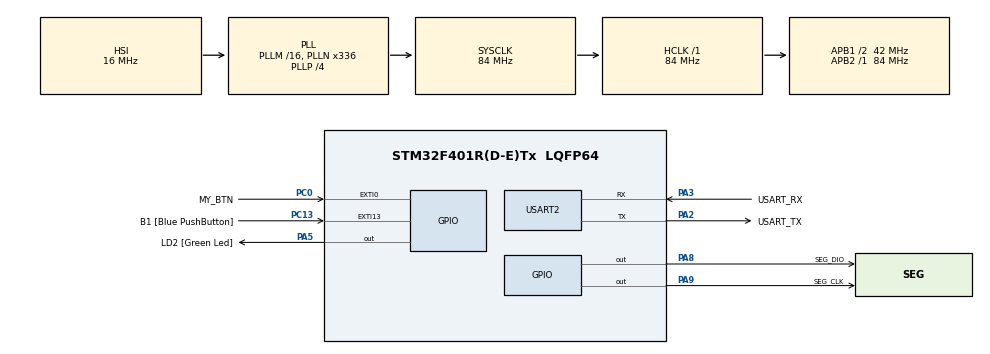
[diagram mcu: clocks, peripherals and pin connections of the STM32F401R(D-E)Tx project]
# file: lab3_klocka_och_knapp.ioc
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Mcu.Family=STM32F4
Mcu.Name=STM32F401R(D-E)Tx
Mcu.Package=LQFP64
NVIC.EXTI0_IRQn=true\:0\:0\:false\:false\:true\:true\:true\:true
NVIC.PriorityGroup=NVIC_PRIORITYGROUP_0
NVIC.TIM1_BRK_TIM9_IRQn=true\:0\:0\:false\:false\:true\:true\:true\:true
PA13.GPIO_Label=TMS
PA13.Mode=Serial_Wire
PA13.Signal=SYS_JTMS-SWDIO
PA14.GPIO_Label=TCK
PA14.Mode=Serial_Wire
PA14.Signal=SYS_JTCK-SWCLK
PA2.GPIO_Label=USART_TX
PA2.GPIO_Mode=GPIO_MODE_AF_PP
PA2.GPIO_PuPd=GPIO_NOPULL
PA2.GPIO_Speed=GPIO_SPEED_FREQ_LOW
PA2.Mode=Asynchronous
PA2.Signal=USART2_TX
PA3.GPIO_Label=USART_RX
PA3.GPIO_Mode=GPIO_MODE_AF_PP
PA3.GPIO_PuPd=GPIO_NOPULL
PA3.GPIO_Speed=GPIO_SPEED_FREQ_LOW
PA3.Mode=Asynchronous
PA3.Signal=USART2_RX
PA5.GPIO_Label=LD2 [Green Led]
PA5.GPIO_Mode=GPIO_MODE_OUTPUT_PP
PA5.GPIO_PuPd=GPIO_NOPULL
PA5.GPIO_Speed=GPIO_SPEED_FREQ_LOW
PA5.Signal=GPIO_Output
PA8.GPIO_Label=SEG_DIO
PA8.GPIO_ModeDefaultOutputPP=GPIO_MODE_OUTPUT_OD
PA8.GPIO_PuPd=GPIO_NOPULL
PA8.Signal=GPIO_Output
PA9.GPIO_Label=SEG_CLK
PA9.Signal=GPIO_Output
PB3.GPIO_Label=SWO
PB3.Signal=SYS_JTDO-SWO
PC0.GPIO_Label=MY_BTN
PC0.GPIO_ModeDefaultEXTI=GPIO_MODE_IT_FALLING
PC0.Signal=GPXTI0
PC13-ANTI_TAMP.GPIO_Label=B1 [Blue PushButton]
PC13-ANTI_TAMP.GPIO_ModeDefaultEXTI=GPIO_MODE_IT_FALLING
PC13-ANTI_TAMP.GPIO_PuPd=GPIO_NOPULL
PC13-ANTI_TAMP.Signal=GPXTI13
PC14-OSC32_IN.Mode=LSE-External-Oscillator
PC14-OSC32_IN.Signal=RCC_OSC32_IN
PC15-OSC32_OUT.Mode=LSE-External-Oscillator
PC15-OSC32_OUT.Signal=RCC_OSC32_OUT
PH0\ -\ OSC_IN.Mode=HSE-External-Clock-Source
PH0\ -\ OSC_IN.Signal=RCC_OSC_IN
PH1\ -\ OSC_OUT.Mode=HSE-External-Clock-Source
PH1\ -\ OSC_OUT.Signal=RCC_OSC_OUT
ProjectManager.HeapSize=0x200
ProjectManager.StackSize=0x400
ProjectManager.TargetToolchain=STM32CubeIDE
RCC.48MHZClocksFreq_Value=48000000
RCC.AHBFreq_Value=84000000
RCC.APB1CLKDivider=RCC_HCLK_DIV2
RCC.APB1Freq_Value=42000000
RCC.APB1TimFreq_Value=84000000
RCC.APB2Freq_Value=84000000
RCC.APB2TimFreq_Value=84000000
RCC.CortexFreq_Value=84000000
RCC.HCLKFreq_Value=84000000
RCC.HSE_VALUE=8000000
RCC.HSI_VALUE=16000000
RCC.PLLN=336
RCC.PLLP=RCC_PLLP_DIV4
RCC.PLLQ=7
RCC.SYSCLKFreq_VALUE=84000000
RCC.SYSCLKSource=RCC_SYSCLKSOURCE_PLLCLK
RCC.VCOOutputFreq_Value=336000000
TIM9.AutoReloadPreload=TIM_AUTORELOAD_PRELOAD_DISABLE
TIM9.Period=41999
TIM9.Prescaler=999
USART2.VirtualMode=VM_ASYNC
VP_TIM9_VS_ClockSourceINT.Mode=Internal
board=NUCLEO-F401RE

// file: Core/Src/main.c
/* USER CODE BEGIN Header */
/**
  ******************************************************************************
  * @file           : main.c
  * @brief          : Main program body
  ******************************************************************************
  * @attention
  *
  * Copyright (c) 2024 STMicroelectronics.
  * All rights reserved.
  *
  * This software is licensed under terms that can be found in the LICENSE file
  * in the root directory of this software component.
  * If no LICENSE file comes with this software, it is provided AS-IS.
  *
  ******************************************************************************
  */
/* USER CODE END Header */
#include "main.h"
#include "quad_sseg.h"
#include <stdio.h>
#include <string.h>

TIM_HandleTypeDef htim9;

UART_HandleTypeDef huart2;

void SystemClock_Config(void);
static void MX_GPIO_Init(void);
static void MX_USART2_UART_Init(void);
static void MX_TIM9_Init(void);

/* USER CODE BEGIN 0 */

#define BOUNCE_DELAY_MS 20			//number of ms before the signal curve stabilizes in oscilloscope

uint16_t button_exti_count;			//number of times the interrupt/callback is run
uint16_t button_debounced_count;	//number of times the user has pressed the button

uint32_t unhandled_exti;
uint32_t current_tick_value;
uint32_t last_exti_tick;

uint32_t hours = 0;
uint32_t minutes = 0;
uint32_t seconds = 0;

/* use for testing
uint32_t hours = 23;
uint32_t minutes = 59;
uint32_t seconds = 45;
*/

uint32_t counter_1s = 0;

volatile uint8_t colon_state = 1;	//initializes the colon state to 1 (on)

int uart_get_menu_choice()
{
	char str[1] = { '\0' };
	uint16_t str_len = 1;
	HAL_UART_Receive(&huart2, (uint8_t *) str, str_len, HAL_MAX_DELAY);
	int ret = -1;
	sscanf(str, "%d", &ret);
	return ret;
}

void uart_print_menu()
{
	char menu_title[] = "Choose an option:\n\r";
	char op1[] = "1. Clock mode.\n\r";
	char op2[] = "2. Button mode.\n\r";

	HAL_UART_Transmit(&huart2, (uint8_t*)menu_title, strlen(menu_title), 2000);
	HAL_UART_Transmit(&huart2, (uint8_t*)op1, strlen(op1), 1000);
	HAL_UART_Transmit(&huart2, (uint8_t*)op2, strlen(op2), 1000);
}

void uart_print_bad_choice()
{
	char wrong_inp[] = "Wrong input\n\r";
	HAL_UART_Transmit(&huart2, (uint8_t*)wrong_inp, strlen(wrong_inp), 1000);
}

void HAL_TIM_PeriodElapsedCallback(TIM_HandleTypeDef *htim)
{
	//my clock config (prescaler = 999, period = 41999) interrupts the timer every 0.5 seconds.
	//to make the display update every 1 seconds I use the counter_1s

	if (htim->Instance == TIM9) 	//if the current timer is TIM9 then execute the code within the if block
	{
		counter_1s++;
		if (counter_1s >= 2)
		{
			counter_1s = 0;

			seconds++;
			if (seconds >= 60)
			{
				seconds = 0;
				minutes++;
			}

			if (minutes >= 60)
			{
				minutes = 0;
				hours++;
			}

			if (hours >= 24)
			{
				hours = 0;
			}
		}

		//the colon should blink every 0.5 s
		colon_state = !colon_state;

	}
}

void clock_mode()
{
	while(1)
	{
		HAL_TIM_Base_Start_IT(&htim9);

		int b1_pressed;

		uint8_t hour1 = hours / 10;
		uint8_t hour2 = hours % 10;
		uint8_t min1 = minutes / 10;
		uint8_t min2 = minutes % 10;
		uint8_t sec1 = seconds / 10;
		uint8_t sec2 = seconds % 10;

		// check b1 button (active low)
		b1_pressed = GPIO_PIN_RESET == HAL_GPIO_ReadPin(B1_GPIO_Port, B1_Pin);

		//if blue button is pressed then display HHMM, otherwise display MMSS
		if (b1_pressed)
		{
			qs_put_digits(hour1, hour2, min1, min2, colon_state);
		}
		else
		{
			qs_put_digits(min1, min2, sec1, sec2, colon_state);
		}
	}
}

void HAL_GPIO_EXTI_Callback(uint16_t GPIO_Pin)
{
	if (GPIO_Pin == MY_BTN_Pin)
	{
		button_exti_count++;
		unhandled_exti = 1;
		last_exti_tick = HAL_GetTick();
	}
}

void now_counter()
{
	current_tick_value = HAL_GetTick();
}

void button_mode()
{
	int b1_pressed;
	int my_btn_pressed;

	while(1)
	{
		/* deal with debouncing the button */
		if(unhandled_exti)
		{

			//now räknar varje HAL_GetTick, last_flank_causing_exti räknar varje callback när my_btn trycks.
			//BOUNCE_DELAY är antalet ms innan signalen blir stabil.
			current_tick_value = HAL_GetTick();

			if ((current_tick_value - last_exti_tick) >= BOUNCE_DELAY_MS)
			{
				my_btn_pressed = GPIO_PIN_RESET == HAL_GPIO_ReadPin(MY_BTN_GPIO_Port, MY_BTN_Pin);

				if (my_btn_pressed)
				{
					button_debounced_count++;
				}
				unhandled_exti = 0;
			}
		}

		// check b1 button (active low)
		b1_pressed = GPIO_PIN_RESET == HAL_GPIO_ReadPin(B1_GPIO_Port, B1_Pin);

		//if b1_pressed is true then display button_exti_count, otherwise display button_debounced_count
		qs_put_big_num(b1_pressed ? button_exti_count : button_debounced_count);
	}
}

/* USER CODE END 0 */

int main(void)
{

  /* MCU Configuration--------------------------------------------------------*/

  /* Reset of all peripherals, Initializes the Flash interface and the Systick. */
  HAL_Init();

  /* Configure the system clock */
  SystemClock_Config();

  /* Initialize all configured peripherals */
  MX_GPIO_Init();
  MX_USART2_UART_Init();
  MX_TIM9_Init();

  /* Infinite loop */
  /* USER CODE BEGIN WHILE */

  while (1)
  {
	  uart_print_menu();

	  int menu_choice = uart_get_menu_choice();
	  {
		  switch (menu_choice)
		  {
		  case 1:			   clock_mode();	break;
		  case 2:			  button_mode();	break;
		  default:	uart_print_bad_choice(); 	break;
		  }
	  }

    /* USER CODE END WHILE */

  }
}

void SystemClock_Config(void)
{
  RCC_OscInitTypeDef RCC_OscInitStruct = {0};
  RCC_ClkInitTypeDef RCC_ClkInitStruct = {0};

  /** Configure the main internal regulator output voltage
  */
  __HAL_RCC_PWR_CLK_ENABLE();
  __HAL_PWR_VOLTAGESCALING_CONFIG(PWR_REGULATOR_VOLTAGE_SCALE2);

  /** Initializes the RCC Oscillators according to the specified parameters
  * in the RCC_OscInitTypeDef structure.
  */
  RCC_OscInitStruct.OscillatorType = RCC_OSCILLATORTYPE_HSI;
  RCC_OscInitStruct.HSIState = RCC_HSI_ON;
  RCC_OscInitStruct.HSICalibrationValue = RCC_HSICALIBRATION_DEFAULT;
  RCC_OscInitStruct.PLL.PLLState = RCC_PLL_ON;
  RCC_OscInitStruct.PLL.PLLSource = RCC_PLLSOURCE_HSI;
  RCC_OscInitStruct.PLL.PLLM = 16;
  RCC_OscInitStruct.PLL.PLLN = 336;
  RCC_OscInitStruct.PLL.PLLP = RCC_PLLP_DIV4;
  RCC_OscInitStruct.PLL.PLLQ = 7;
  if (HAL_RCC_OscConfig(&RCC_OscInitStruct) != HAL_OK)
  {
    Error_Handler();
  }

  /** Initializes the CPU, AHB and APB buses clocks
  */
  RCC_ClkInitStruct.ClockType = RCC_CLOCKTYPE_HCLK|RCC_CLOCKTYPE_SYSCLK
                              |RCC_CLOCKTYPE_PCLK1|RCC_CLOCKTYPE_PCLK2;
  RCC_ClkInitStruct.SYSCLKSource = RCC_SYSCLKSOURCE_PLLCLK;
  RCC_ClkInitStruct.AHBCLKDivider = RCC_SYSCLK_DIV1;
  RCC_ClkInitStruct.APB1CLKDivider = RCC_HCLK_DIV2;
  RCC_ClkInitStruct.APB2CLKDivider = RCC_HCLK_DIV1;

  if (HAL_RCC_ClockConfig(&RCC_ClkInitStruct, FLASH_LATENCY_2) != HAL_OK)
  {
    Error_Handler();
  }
}

static void MX_TIM9_Init(void)
{

  TIM_ClockConfigTypeDef sClockSourceConfig = {0};

  htim9.Instance = TIM9;
  htim9.Init.Prescaler = 999;
  htim9.Init.CounterMode = TIM_COUNTERMODE_UP;
  htim9.Init.Period = 41999;
  htim9.Init.ClockDivision = TIM_CLOCKDIVISION_DIV1;
  htim9.Init.AutoReloadPreload = TIM_AUTORELOAD_PRELOAD_DISABLE;
  if (HAL_TIM_Base_Init(&htim9) != HAL_OK)
  {
    Error_Handler();
  }
  sClockSourceConfig.ClockSource = TIM_CLOCKSOURCE_INTERNAL;
  if (HAL_TIM_ConfigClockSource(&htim9, &sClockSourceConfig) != HAL_OK)
  {
    Error_Handler();
  }

}

static void MX_USART2_UART_Init(void)
{

  huart2.Instance = USART2;
  huart2.Init.BaudRate = 115200;
  huart2.Init.WordLength = UART_WORDLENGTH_8B;
  huart2.Init.StopBits = UART_STOPBITS_1;
  huart2.Init.Parity = UART_PARITY_NONE;
  huart2.Init.Mode = UART_MODE_TX_RX;
  huart2.Init.HwFlowCtl = UART_HWCONTROL_NONE;
  huart2.Init.OverSampling = UART_OVERSAMPLING_16;
  if (HAL_UART_Init(&huart2) != HAL_OK)
  {
    Error_Handler();
  }

}

static void MX_GPIO_Init(void)
{
  GPIO_InitTypeDef GPIO_InitStruct = {0};

  /* GPIO Ports Clock Enable */
  __HAL_RCC_GPIOC_CLK_ENABLE();
  __HAL_RCC_GPIOH_CLK_ENABLE();
  __HAL_RCC_GPIOA_CLK_ENABLE();
  __HAL_RCC_GPIOB_CLK_ENABLE();

  /*Configure GPIO pin Output Level */
  HAL_GPIO_WritePin(GPIOA, LD2_Pin|SEG_DIO_Pin|SEG_CLK_Pin, GPIO_PIN_RESET);

  /*Configure GPIO pins : B1_Pin MY_BTN_Pin */
  GPIO_InitStruct.Pin = B1_Pin|MY_BTN_Pin;
  GPIO_InitStruct.Mode = GPIO_MODE_IT_FALLING;
  GPIO_InitStruct.Pull = GPIO_NOPULL;
  HAL_GPIO_Init(GPIOC, &GPIO_InitStruct);

  /*Configure GPIO pins : LD2_Pin SEG_CLK_Pin */
  GPIO_InitStruct.Pin = LD2_Pin|SEG_CLK_Pin;
  GPIO_InitStruct.Mode = GPIO_MODE_OUTPUT_PP;
  GPIO_InitStruct.Pull = GPIO_NOPULL;
  GPIO_InitStruct.Speed = GPIO_SPEED_FREQ_LOW;
  HAL_GPIO_Init(GPIOA, &GPIO_InitStruct);

  /*Configure GPIO pin : SEG_DIO_Pin */
  GPIO_InitStruct.Pin = SEG_DIO_Pin;
  GPIO_InitStruct.Mode = GPIO_MODE_OUTPUT_OD;
  GPIO_InitStruct.Pull = GPIO_NOPULL;
  GPIO_InitStruct.Speed = GPIO_SPEED_FREQ_LOW;
  HAL_GPIO_Init(SEG_DIO_GPIO_Port, &GPIO_InitStruct);

  /* EXTI interrupt init*/
  HAL_NVIC_SetPriority(EXTI0_IRQn, 0, 0);
  HAL_NVIC_EnableIRQ(EXTI0_IRQn);

}

void Error_Handler(void)
{
  __disable_irq();
  while (1)
  {
  }
}
